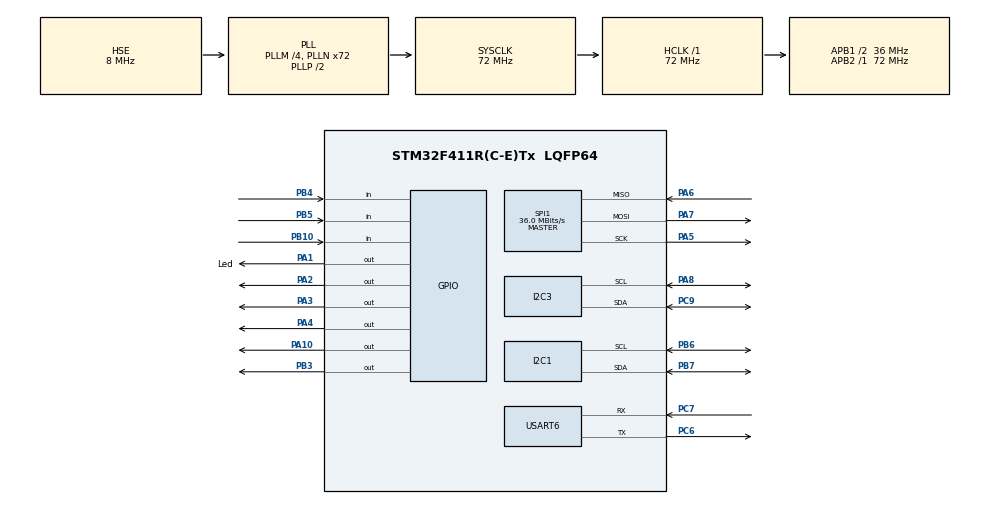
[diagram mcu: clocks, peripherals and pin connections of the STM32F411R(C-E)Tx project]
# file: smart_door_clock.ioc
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Mcu.Family=STM32F4
Mcu.Name=STM32F411R(C-E)Tx
Mcu.Package=LQFP64
NVIC.PriorityGroup=NVIC_PRIORITYGROUP_4
NVIC.TIM3_IRQn=true\:0\:0\:false\:false\:true\:true\:true\:true
PA1.GPIO_Label=Led
PA1.Signal=GPIO_Output
PA10.Signal=GPIO_Output
PA13.Mode=Serial_Wire
PA13.Signal=SYS_JTMS-SWDIO
PA14.Mode=Serial_Wire
PA14.Signal=SYS_JTCK-SWCLK
PA2.Signal=GPIO_Output
PA3.Signal=GPIO_Output
PA4.Signal=GPIO_Output
PA5.Mode=Full_Duplex_Master
PA5.Signal=SPI1_SCK
PA6.Mode=Full_Duplex_Master
PA6.Signal=SPI1_MISO
PA7.Mode=Full_Duplex_Master
PA7.Signal=SPI1_MOSI
PA8.Mode=I2C
PA8.Signal=I2C3_SCL
PB10.GPIO_PuPd=GPIO_PULLUP
PB10.Signal=GPIO_Input
PB3.Signal=GPIO_Output
PB4.GPIO_PuPd=GPIO_PULLUP
PB4.Signal=GPIO_Input
PB5.GPIO_PuPd=GPIO_PULLUP
PB5.Signal=GPIO_Input
PB6.Mode=I2C
PB6.Signal=I2C1_SCL
PB7.Mode=I2C
PB7.Signal=I2C1_SDA
PC6.Mode=Asynchronous
PC6.Signal=USART6_TX
PC7.Mode=Asynchronous
PC7.Signal=USART6_RX
PC9.Mode=I2C
PC9.Signal=I2C3_SDA
PH0\ -\ OSC_IN.Mode=HSE-External-Oscillator
PH0\ -\ OSC_IN.Signal=RCC_OSC_IN
PH1\ -\ OSC_OUT.Mode=HSE-External-Oscillator
PH1\ -\ OSC_OUT.Signal=RCC_OSC_OUT
ProjectManager.HeapSize=0x200
ProjectManager.StackSize=0x400
ProjectManager.TargetToolchain=STM32CubeIDE
RCC.48MHZClocksFreq_Value=36000000
RCC.AHBFreq_Value=72000000
RCC.APB1CLKDivider=RCC_HCLK_DIV2
RCC.APB1Freq_Value=36000000
RCC.APB1TimFreq_Value=72000000
RCC.APB2Freq_Value=72000000
RCC.APB2TimFreq_Value=72000000
RCC.CortexFreq_Value=72000000
RCC.HCLKFreq_Value=72000000
RCC.HSE_VALUE=8000000
RCC.HSI_VALUE=16000000
RCC.LSE_VALUE=32768
RCC.PLLM=4
RCC.PLLN=72
RCC.PLLSourceVirtual=RCC_PLLSOURCE_HSE
RCC.SYSCLKFreq_VALUE=72000000
RCC.SYSCLKSource=RCC_SYSCLKSOURCE_PLLCLK
RCC.VCOOutputFreq_Value=144000000
SPI1.CalculateBaudRate=36.0 MBits/s
SPI1.Direction=SPI_DIRECTION_2LINES
SPI1.Mode=SPI_MODE_MASTER
SPI1.VirtualType=VM_MASTER
TIM3.Period=99
TIM3.Prescaler=23
USART6.VirtualMode=VM_ASYNC
VP_TIM3_VS_ClockSourceINT.Mode=Internal
board=custom

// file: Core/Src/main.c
/* USER CODE BEGIN Header */
/**
  ******************************************************************************
  * @file           : main.c
  * @brief          : Main program body
  ******************************************************************************
  * @attention
  *
  * Copyright (c) 2023 STMicroelectronics.
  * All rights reserved.
  *
  * This software is licensed under terms that can be found in the LICENSE file
  * in the root directory of this software component.
  * If no LICENSE file comes with this software, it is provided AS-IS.
  *
  ******************************************************************************
  */
/* USER CODE END Header */
#include <api_handle_display.h>
#include "main.h"
#include "api_flash.h"

I2C_HandleTypeDef hi2c1;
I2C_HandleTypeDef hi2c3;

SPI_HandleTypeDef hspi1;

TIM_HandleTypeDef htim3;

UART_HandleTypeDef huart6;

/* USER CODE BEGIN PV */

//debug
uint8_t second;
uint8_t minute;
uint8_t hour;
uint8_t dow;
uint8_t date;
uint8_t month;
uint16_t year;

/* USER CODE END PV */

void SystemClock_Config(void);
static void MX_GPIO_Init(void);
static void MX_I2C1_Init(void);
static void MX_I2C3_Init(void);
static void MX_SPI1_Init(void);
static void MX_USART6_UART_Init(void);
static void MX_TIM3_Init(void);

int main(void)
{

  /* MCU Configuration--------------------------------------------------------*/

  /* Reset of all peripherals, Initializes the Flash interface and the Systick. */
  HAL_Init();

  /* Configure the system clock */
  SystemClock_Config();

  /* Initialize all configured peripherals */
  MX_GPIO_Init();
  MX_I2C1_Init();
  MX_I2C3_Init();
  MX_SPI1_Init();
  MX_USART6_UART_Init();
  MX_TIM3_Init();
  /* USER CODE BEGIN 2 */
  lcd_init(&hi2c1);
  ds1307_init(&hi2c3);
  //ds1307_set_date_time (50, 56, 11, 6, 1, 9, 2023);

  /* USER CODE END 2 */

  /* Infinite loop */
  while (1)
  {

    /* USER CODE BEGIN 3 */

	  //debug-----------------------------
	    //second
		second = ds1307_get_second();
	    //minute
	    minute = ds1307_get_minute();
	    //hour
	    hour = ds1307_get_hour();
	    //dow
	    dow = ds1307_get_dayofweek();
	    //date
	    date = ds1307_get_date();
	    //month
	    month = ds1307_get_month();
	    //year
	    year = ds1307_get_year();
	   //-------------------------------------

	  //test
	    h_display_time();

	    time_delay(2000);

	    h_wrong_card();

	    h_wrong_pass();

	    h_timeout();

	    h_display_enter_new_pass();
	    time_delay(2000);

	    h_display_enter_current_pass();
	    time_delay(2000);

	    h_display_tap_master_card();
	    time_delay(2000);

	    h_display_tap_new_card();
	    time_delay(2000);

	    h_display_choose_mode();
	    time_delay(2000);

	    h_display_open_door();
	    time_delay(2000);

	    h_display_close_door();
	    time_delay(2000);

	    h_save_successful();

	    //h_block();

  }
  /* USER CODE END 3 */
}

void SystemClock_Config(void)
{
  RCC_OscInitTypeDef RCC_OscInitStruct = {0};
  RCC_ClkInitTypeDef RCC_ClkInitStruct = {0};

  /** Configure the main internal regulator output voltage
  */
  __HAL_RCC_PWR_CLK_ENABLE();
  __HAL_PWR_VOLTAGESCALING_CONFIG(PWR_REGULATOR_VOLTAGE_SCALE1);

  /** Initializes the RCC Oscillators according to the specified parameters
  * in the RCC_OscInitTypeDef structure.
  */
  RCC_OscInitStruct.OscillatorType = RCC_OSCILLATORTYPE_HSE;
  RCC_OscInitStruct.HSEState = RCC_HSE_ON;
  RCC_OscInitStruct.PLL.PLLState = RCC_PLL_ON;
  RCC_OscInitStruct.PLL.PLLSource = RCC_PLLSOURCE_HSE;
  RCC_OscInitStruct.PLL.PLLM = 4;
  RCC_OscInitStruct.PLL.PLLN = 72;
  RCC_OscInitStruct.PLL.PLLP = RCC_PLLP_DIV2;
  RCC_OscInitStruct.PLL.PLLQ = 4;
  if (HAL_RCC_OscConfig(&RCC_OscInitStruct) != HAL_OK)
  {
    Error_Handler();
  }

  /** Initializes the CPU, AHB and APB buses clocks
  */
  RCC_ClkInitStruct.ClockType = RCC_CLOCKTYPE_HCLK|RCC_CLOCKTYPE_SYSCLK
                              |RCC_CLOCKTYPE_PCLK1|RCC_CLOCKTYPE_PCLK2;
  RCC_ClkInitStruct.SYSCLKSource = RCC_SYSCLKSOURCE_PLLCLK;
  RCC_ClkInitStruct.AHBCLKDivider = RCC_SYSCLK_DIV1;
  RCC_ClkInitStruct.APB1CLKDivider = RCC_HCLK_DIV2;
  RCC_ClkInitStruct.APB2CLKDivider = RCC_HCLK_DIV1;

  if (HAL_RCC_ClockConfig(&RCC_ClkInitStruct, FLASH_LATENCY_2) != HAL_OK)
  {
    Error_Handler();
  }
}

static void MX_I2C1_Init(void)
{

  hi2c1.Instance = I2C1;
  hi2c1.Init.ClockSpeed = 100000;
  hi2c1.Init.DutyCycle = I2C_DUTYCYCLE_2;
  hi2c1.Init.OwnAddress1 = 0;
  hi2c1.Init.AddressingMode = I2C_ADDRESSINGMODE_7BIT;
  hi2c1.Init.DualAddressMode = I2C_DUALADDRESS_DISABLE;
  hi2c1.Init.OwnAddress2 = 0;
  hi2c1.Init.GeneralCallMode = I2C_GENERALCALL_DISABLE;
  hi2c1.Init.NoStretchMode = I2C_NOSTRETCH_DISABLE;
  if (HAL_I2C_Init(&hi2c1) != HAL_OK)
  {
    Error_Handler();
  }

}

static void MX_I2C3_Init(void)
{

  hi2c3.Instance = I2C3;
  hi2c3.Init.ClockSpeed = 100000;
  hi2c3.Init.DutyCycle = I2C_DUTYCYCLE_2;
  hi2c3.Init.OwnAddress1 = 0;
  hi2c3.Init.AddressingMode = I2C_ADDRESSINGMODE_7BIT;
  hi2c3.Init.DualAddressMode = I2C_DUALADDRESS_DISABLE;
  hi2c3.Init.OwnAddress2 = 0;
  hi2c3.Init.GeneralCallMode = I2C_GENERALCALL_DISABLE;
  hi2c3.Init.NoStretchMode = I2C_NOSTRETCH_DISABLE;
  if (HAL_I2C_Init(&hi2c3) != HAL_OK)
  {
    Error_Handler();
  }

}

static void MX_SPI1_Init(void)
{

  /* SPI1 parameter configuration*/
  hspi1.Instance = SPI1;
  hspi1.Init.Mode = SPI_MODE_MASTER;
  hspi1.Init.Direction = SPI_DIRECTION_2LINES;
  hspi1.Init.DataSize = SPI_DATASIZE_8BIT;
  hspi1.Init.CLKPolarity = SPI_POLARITY_LOW;
  hspi1.Init.CLKPhase = SPI_PHASE_1EDGE;
  hspi1.Init.NSS = SPI_NSS_SOFT;
  hspi1.Init.BaudRatePrescaler = SPI_BAUDRATEPRESCALER_2;
  hspi1.Init.FirstBit = SPI_FIRSTBIT_MSB;
  hspi1.Init.TIMode = SPI_TIMODE_DISABLE;
  hspi1.Init.CRCCalculation = SPI_CRCCALCULATION_DISABLE;
  hspi1.Init.CRCPolynomial = 10;
  if (HAL_SPI_Init(&hspi1) != HAL_OK)
  {
    Error_Handler();
  }

}

static void MX_TIM3_Init(void)
{

  TIM_ClockConfigTypeDef sClockSourceConfig = {0};
  TIM_MasterConfigTypeDef sMasterConfig = {0};

  htim3.Instance = TIM3;
  htim3.Init.Prescaler = 23;
  htim3.Init.CounterMode = TIM_COUNTERMODE_UP;
  htim3.Init.Period = 99;
  htim3.Init.ClockDivision = TIM_CLOCKDIVISION_DIV1;
  htim3.Init.AutoReloadPreload = TIM_AUTORELOAD_PRELOAD_DISABLE;
  if (HAL_TIM_Base_Init(&htim3) != HAL_OK)
  {
    Error_Handler();
  }
  sClockSourceConfig.ClockSource = TIM_CLOCKSOURCE_INTERNAL;
  if (HAL_TIM_ConfigClockSource(&htim3, &sClockSourceConfig) != HAL_OK)
  {
    Error_Handler();
  }
  sMasterConfig.MasterOutputTrigger = TIM_TRGO_RESET;
  sMasterConfig.MasterSlaveMode = TIM_MASTERSLAVEMODE_DISABLE;
  if (HAL_TIMEx_MasterConfigSynchronization(&htim3, &sMasterConfig) != HAL_OK)
  {
    Error_Handler();
  }

}

static void MX_USART6_UART_Init(void)
{

  huart6.Instance = USART6;
  huart6.Init.BaudRate = 115200;
  huart6.Init.WordLength = UART_WORDLENGTH_8B;
  huart6.Init.StopBits = UART_STOPBITS_1;
  huart6.Init.Parity = UART_PARITY_NONE;
  huart6.Init.Mode = UART_MODE_TX_RX;
  huart6.Init.HwFlowCtl = UART_HWCONTROL_NONE;
  huart6.Init.OverSampling = UART_OVERSAMPLING_16;
  if (HAL_UART_Init(&huart6) != HAL_OK)
  {
    Error_Handler();
  }

}

static void MX_GPIO_Init(void)
{
  GPIO_InitTypeDef GPIO_InitStruct = {0};

  /* GPIO Ports Clock Enable */
  __HAL_RCC_GPIOH_CLK_ENABLE();
  __HAL_RCC_GPIOA_CLK_ENABLE();
  __HAL_RCC_GPIOB_CLK_ENABLE();
  __HAL_RCC_GPIOC_CLK_ENABLE();

  /*Configure GPIO pin Output Level */
  HAL_GPIO_WritePin(GPIOA, Led_Pin|GPIO_PIN_2|GPIO_PIN_3|GPIO_PIN_4
                          |GPIO_PIN_10, GPIO_PIN_RESET);

  /*Configure GPIO pin Output Level */
  HAL_GPIO_WritePin(GPIOB, GPIO_PIN_3, GPIO_PIN_RESET);

  /*Configure GPIO pins : Led_Pin PA2 PA3 PA4
                           PA10 */
  GPIO_InitStruct.Pin = Led_Pin|GPIO_PIN_2|GPIO_PIN_3|GPIO_PIN_4
                          |GPIO_PIN_10;
  GPIO_InitStruct.Mode = GPIO_MODE_OUTPUT_PP;
  GPIO_InitStruct.Pull = GPIO_NOPULL;
  GPIO_InitStruct.Speed = GPIO_SPEED_FREQ_LOW;
  HAL_GPIO_Init(GPIOA, &GPIO_InitStruct);

  /*Configure GPIO pins : PB10 PB4 PB5 */
  GPIO_InitStruct.Pin = GPIO_PIN_10|GPIO_PIN_4|GPIO_PIN_5;
  GPIO_InitStruct.Mode = GPIO_MODE_INPUT;
  GPIO_InitStruct.Pull = GPIO_PULLUP;
  HAL_GPIO_Init(GPIOB, &GPIO_InitStruct);

  /*Configure GPIO pin : PB3 */
  GPIO_InitStruct.Pin = GPIO_PIN_3;
  GPIO_InitStruct.Mode = GPIO_MODE_OUTPUT_PP;
  GPIO_InitStruct.Pull = GPIO_NOPULL;
  GPIO_InitStruct.Speed = GPIO_SPEED_FREQ_LOW;
  HAL_GPIO_Init(GPIOB, &GPIO_InitStruct);

}

void Error_Handler(void)
{
  __disable_irq();
  while (1)
  {
  }
}
